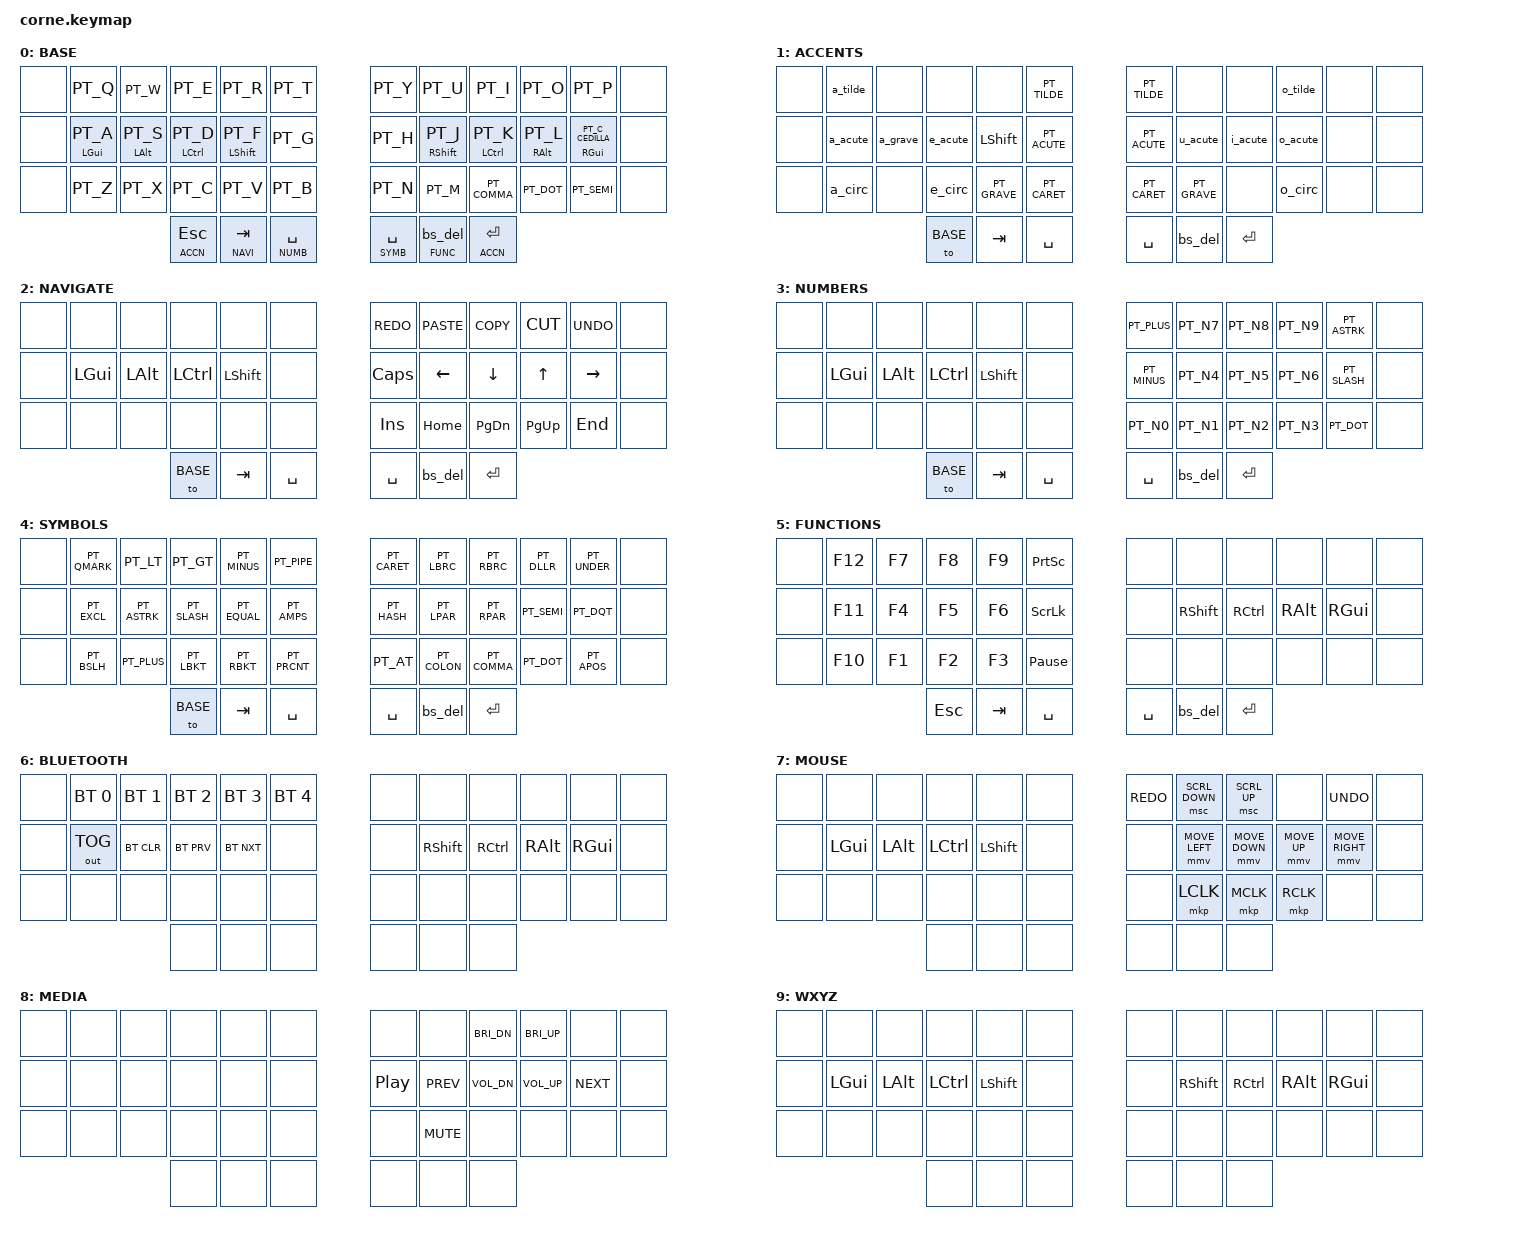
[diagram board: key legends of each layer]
/*
 * Copyright (c) 2020 The ZMK Contributors
 *
 * SPDX-License-Identifier: MIT
 */

// ZMK headers
#include <behaviors.dtsi>
#include <dt-bindings/zmk/bt.h>
#include <dt-bindings/zmk/keys.h>
#include <dt-bindings/zmk/outputs.h>
#include <dt-bindings/zmk/pointing.h>
#include "keys_pt_abnt2.h"              //  ABNT2 keyboard

#define HM_TAPPING_TERM 200
#define HM_PRIOR_IDLE   150

// Layer definitions
#define BASE  0                         //  Camada base
#define ACCN  1                         //  Acentos e letras já acentuadas
#define NAVI  2                         //  Navegação
#define NUMB  3                         //  Números e símbolos de fácil acesso
#define SYMB  4                         //  Símbolos
#define FUNC  5                         //  Funções
#define BLTH  6                         //  Bluetooth e funções de conectividade sem fio
#define MOUS  7                         //  Mouse keys e funções de controle de cursor
#define MDIA  8                         //  Ativa a camada de mídia
#define WXYZ  9                         //  Camada reserva

// Behavior configuration
&mt {
  tapping-term-ms   = <HM_TAPPING_TERM>;
  flavor            = "tap-preferred";
};

&lt {
  tapping-term-ms   = <HM_TAPPING_TERM>;
  flavor            = "tap-preferred";
};

/ {
  combos {
    compatible        = "zmk,combos";

    combo_caps_word {
      bindings        = <&caps_word>;
      key-positions   = <16 19>;      //  F e J
    };

    //  Camada do mouse:
    //  Apertar ESC (36) + TAB (37) juntos abre a camada MOUS
    combo_mouse {
      timeout-ms      = <50>;         //  Janela de tempo para o aperto simultâneo
      key-positions   = <36 37>;      //  Posição física das teclas ESC e TAB
      bindings        = <&mo MOUS>;   //  Ativa temporariamente a camada Mouse
    };

    //  Camada de bluetooth:
    //  Apertar BSPC (40) + ENTER (41) juntos abre a Camada BLTH
    combo_bluetooth {
      timeout-ms      = <50>;         //  Janela de tempo para o aperto simultâneo
      key-positions   = <40 41>;      //  Posição física das teclas BSPC e DEL
      bindings        = <&mo BLTH>;   //  Ativa temporariamente a camada Bluetooth
    };

    //  Camada de mídia:
    //  Apertar TAB (37) + SPACE (38) juntos abre a Camada MDIA
    combo_media {
      timeout-ms      = <50>;         //  Janela de tempo para o aperto simultâneo
      key-positions   = <37 38>;      //  Posição física das teclas TAB e SPACE
      bindings        = <&mo MDIA>;   //  Ativa temporariamente a camada MEDIA
    };

    // Fixar camada de acentos (ACCN)
    // Apertar ESC (36) + ENTER (41) fixa ACCN
    combo_lock_accents {
      timeout-ms      = <60>;
      key-positions   = <36 41>;
      bindings        = <&to ACCN>;
    };

    // Fixar camada de navegação (NAVI)
    // Apertar TAB (37) + ENTER (41) fixa NAVI
    combo_lock_navi {
      timeout-ms      = <60>;
      key-positions   = <37 41>;
      bindings        = <&to NAVI>;
    };

    // Fixar camada de números (NUMB)
    // Apertar SPACE (38) + ENTER (41) fixa NUMB
    combo_lock_numb {
      timeout-ms      = <60>;
      key-positions   = <38 41>;
      bindings        = <&to NUMB>;
    };

    // Fixar camada de símbolos (SYMB)
    // Apertar SPACE (39) + ENTER (41) fixa SYMB
    combo_lock_symb {
      timeout-ms      = <60>;
      key-positions   = <39 41>;
      bindings        = <&to SYMB>;
    };
  };

  macros {
    accent: acute {
      compatible      = "zmk,behavior-macro-two-param";
      label           = "ACUTE";
      #binding-cells  = <2>;
      bindings        = <&macro_tap>
                      , <&macro_param_1to1 &kp MACRO_PLACEHOLDER>
                      , <&macro_tap>
                      , <&macro_param_2to1 &kp MACRO_PLACEHOLDER>;
    };
  };

  behaviors {
    // Behavior único de Home Row Mod (unificado partes esquerda e direita)
    hm: homerow_mods {
      compatible            = "zmk,behavior-hold-tap";
      #binding-cells        = <2>;
      flavor                = "balanced";
      tapping-term-ms       = <HM_TAPPING_TERM>;
      quick-tap-ms          = <175>;
      require-prior-idle-ms = <HM_PRIOR_IDLE>;
      bindings              = <&kp>, <&kp>;
      hold-trigger-on-release;
      global-quick-tap;
    };

    // Mod-morphs para acentuação
    a_tilde: a_tilde {
      compatible            = "zmk,behavior-mod-morph";
      label                 = "A_TILDE";
      #binding-cells        = <0>;
      mods                  = <(MOD_LSFT|MOD_RSFT)>;
      bindings              = <&accent PT_TILDE PT_A>
                            , <&accent PT_TILDE LS(PT_A)>;
    };

    a_acute: a_acute {
      compatible            = "zmk,behavior-mod-morph";
      label                 = "A_ACUTE";
      #binding-cells        = <0>;
      mods                  = <(MOD_LSFT|MOD_RSFT)>;
      bindings              = <&accent PT_ACUTE PT_A>
                            , <&accent PT_ACUTE LS(PT_A)>;
    };

    a_circ: a_circ {
      compatible            = "zmk,behavior-mod-morph";
      label                 = "A_CIRC";
      #binding-cells        = <0>;
      mods                  = <(MOD_LSFT|MOD_RSFT)>;
      bindings              = <&accent PT_CARET PT_A>
                            , <&accent PT_CARET LS(PT_A)>;
    };

    a_grave: a_grave {
      compatible            = "zmk,behavior-mod-morph";
      label                 = "A_GRAVE";
      #binding-cells        = <0>;
      mods                  = <(MOD_LSFT|MOD_RSFT)>;
      bindings              = <&accent PT_GRAVE PT_A>
                            , <&accent PT_GRAVE LS(PT_A)>;
    };

    e_acute: e_acute {
      compatible            = "zmk,behavior-mod-morph";
      label                 = "E_ACUTE";
      #binding-cells        = <0>;
      mods                  = <(MOD_LSFT|MOD_RSFT)>;
      bindings              = <&accent PT_ACUTE PT_E>
                            , <&accent PT_ACUTE LS(PT_E)>;
    };

    e_circ: e_circ {
      compatible            = "zmk,behavior-mod-morph";
      label                 = "E_CIRC";
      #binding-cells        = <0>;
      mods                  = <(MOD_LSFT|MOD_RSFT)>;
      bindings              = <&accent PT_CARET PT_E>
                            , <&accent PT_CARET LS(PT_E)>;
    };

    i_acute: i_acute {
      compatible            = "zmk,behavior-mod-morph";
      label                 = "I_ACUTE";
      #binding-cells        = <0>;
      mods                  = <(MOD_LSFT|MOD_RSFT)>;
      bindings              = <&accent PT_ACUTE PT_I>
                            , <&accent PT_ACUTE LS(PT_I)>;
    };

    o_tilde: o_tilde {
      compatible            = "zmk,behavior-mod-morph";
      label                 = "O_TILDE";
      #binding-cells        = <0>;
      mods                  = <(MOD_LSFT|MOD_RSFT)>;
      bindings              = <&accent PT_TILDE PT_O>
                            , <&accent PT_TILDE LS(PT_O)>;
    };

    o_acute: o_acute {
      compatible            = "zmk,behavior-mod-morph";
      label                 = "O_ACUTE";
      #binding-cells        = <0>;
      mods                  = <(MOD_LSFT|MOD_RSFT)>;
      bindings              = <&accent PT_ACUTE PT_O>
                            , <&accent PT_ACUTE LS(PT_O)>;
    };

    o_circ: o_circ {
      compatible            = "zmk,behavior-mod-morph";
      label                 = "O_CIRC";
      #binding-cells        = <0>;
      mods                  = <(MOD_LSFT|MOD_RSFT)>;
      bindings              = <&accent PT_CARET PT_O>
                            , <&accent PT_CARET LS(PT_O)>;
    };

    u_acute: u_acute {
      compatible            = "zmk,behavior-mod-morph";
      label                 = "U_ACUTE";
      #binding-cells        = <0>;
      mods                  = <(MOD_LSFT|MOD_RSFT)>;
      bindings              = <&accent PT_ACUTE PT_U>
                            , <&accent PT_ACUTE LS(PT_U)>;
    };

    // Shift + Backspace = Delete
    bs_del: backspace_delete {
      compatible            = "zmk,behavior-mod-morph";
      #binding-cells        = <0>;
      bindings              = <&kp BSPC>, <&kp DEL>;
      mods                  = <(MOD_LSFT|MOD_RSFT)>;
    };

    lt_bspc: layer_tap_backspace {
      compatible            = "zmk,behavior-hold-tap";
      #binding-cells        = <2>;
      flavor                = "balanced";
      tapping-term-ms       = <200>;
      quick-tap-ms          = <175>;
      bindings              = <&mo>, <&bs_del>;
    };
  };

  keymap {
    compatible = "zmk,keymap";

    //  ---------------------------------------------------------------
    //  BASE  - 0 - Camada base
    //  ---------------------------------------------------------------
    base_layer {
      display-name  = "BASE";
      label         = "Default";
      bindings      = <
        //  ╭───────────────┬───────────────┬───────────────┬───────────────┬───────────────╮ ╭───────────────┬───────────────┬───────────────┬───────────────┬───────────────╮
        &none &kp PT_Q        &kp PT_W        &kp PT_E        &kp PT_R        &kp PT_T          &kp PT_Y        &kp PT_U        &kp PT_I        &kp PT_O        &kp PT_P      &none
        //  ├───────────────┼───────────────┼───────────────┼───────────────┼───────────────┤ ├───────────────┼───────────────┼───────────────┼───────────────┼───────────────┤
        &none &hm LGUI PT_A   &hm LALT PT_S   &hm LCTRL PT_D  &hm LSHFT PT_F  &kp PT_G          &kp PT_H        &hm RSHFT PT_J  &hm LCTRL PT_K  &hm RALT PT_L   &hm RGUI PT_C_CEDILLA &none
        //  ├───────────────┼───────────────┼───────────────┼───────────────┼───────────────┤ ├───────────────┼───────────────┼───────────────┼───────────────┼───────────────┤
        &none &kp PT_Z        &kp PT_X        &kp PT_C        &kp PT_V        &kp PT_B          &kp PT_N        &kp PT_M        &kp PT_COMMA    &kp PT_DOT      &kp PT_SEMI   &none
        //  ╰───────────────┴───────────────┼───────────────┼───────────────┼───────────────┤ ├───────────────┼───────────────┼───────────────┼───────────────┼───────────────╯
                                              &lt ACCN ESC    &lt NAVI TAB    &lt NUMB SPACE    &lt SYMB SPACE  &lt_bspc FUNC 0 &lt ACCN RET
        //                                  ╰───────────────┴───────────────┴───────────────╯ ╰───────────────┴───────────────┴───────────────╯
      >;
    };

    //  ---------------------------------------------------------------
    //  ACCN  - 1 - Acentos e letras já acentuadas
    //  ---------------------------------------------------------------
    accents_layer {
      display-name  = "ACCENTS";
      label         = "Accents";
      bindings      = <
        //  ╭───────────────┬───────────────┬───────────────┬───────────────┬───────────────╮ ╭───────────────┬───────────────┬───────────────┬───────────────┬───────────────╮
        &none &a_tilde        &none           &none           &none           &kp PT_TILDE      &kp PT_TILDE    &none           &none           &o_tilde        &none         &none
        //  ├───────────────┼───────────────┼───────────────┼───────────────┼───────────────┤ ├───────────────┼───────────────┼───────────────┼───────────────┼───────────────┤
        &none &a_acute        &a_grave        &e_acute        &kp LSHFT       &kp PT_ACUTE      &kp PT_ACUTE    &u_acute        &i_acute        &o_acute        &none         &none
        //  ├───────────────┼───────────────┼───────────────┼───────────────┼───────────────┤ ├───────────────┼───────────────┼───────────────┼───────────────┼───────────────┤
        &none &a_circ         &none           &e_circ         &kp PT_GRAVE    &kp PT_CARET      &kp PT_CARET    &kp PT_GRAVE    &none           &o_circ         &none         &none
        //  ╰───────────────┴───────────────┼───────────────┼───────────────┼───────────────┤ ├───────────────┼───────────────┼───────────────┼───────────────┼───────────────╯
                                              &to BASE        &kp TAB         &kp SPACE         &kp SPACE       &bs_del         &kp RET
        //                                  ╰───────────────┴───────────────┴───────────────╯ ╰───────────────┴───────────────┴───────────────╯
      >;
    };

    //  ---------------------------------------------------------------
    //  NAVI  - 2 - Navegação
    //  ---------------------------------------------------------------
    navi_layer {
      display-name  = "NAVIGATE";
      label         = "Navigation";
      bindings      = <
        //  ╭───────────────┬───────────────┬───────────────┬───────────────┬───────────────╮ ╭───────────────┬───────────────┬───────────────┬───────────────┬───────────────╮
        &none &none           &none           &none           &none           &none             &kp K_REDO      &kp K_PASTE     &kp K_COPY      &kp K_CUT       &kp K_UNDO    &none
        //  ├───────────────┼───────────────┼───────────────┼───────────────┼───────────────┤ ├───────────────┼───────────────┼───────────────┼───────────────┼───────────────┤
        &none &kp LGUI        &kp LALT        &kp LCTRL       &kp LSHFT       &none             &kp CAPS        &kp LEFT        &kp DOWN        &kp UP          &kp RIGHT     &none
        //  ├───────────────┼───────────────┼───────────────┼───────────────┼───────────────┤ ├───────────────┼───────────────┼───────────────┼───────────────┼───────────────┤
        &none &none           &none           &none           &none           &none             &kp INS         &kp HOME        &kp PG_DN       &kp PG_UP       &kp END       &none
        //  ╰───────────────┴───────────────┼───────────────┼───────────────┼───────────────┤ ├───────────────┼───────────────┼───────────────┼───────────────┼───────────────╯
                                              &to BASE        &kp TAB         &kp SPACE         &kp SPACE       &bs_del         &kp RET
        //                                  ╰───────────────┴───────────────┴───────────────╯ ╰───────────────┴───────────────┴───────────────╯
      >;
    };

    //  ---------------------------------------------------------------
    //  NUMB  - 3 - Números e símbolos de fácil acesso
    //  ---------------------------------------------------------------
    numb_layer {
      display-name  = "NUMBERS";
      label         = "Numbers";
      bindings      = <
        //  ╭───────────────┬───────────────┬───────────────┬───────────────┬───────────────╮ ╭───────────────┬───────────────┬───────────────┬───────────────┬───────────────╮
        &none &none           &none           &none           &none           &none             &kp PT_PLUS     &kp PT_N7       &kp PT_N8       &kp PT_N9       &kp PT_ASTRK  &none
        //  ├───────────────┼───────────────┼───────────────┼───────────────┼───────────────┤ ├───────────────┼───────────────┼───────────────┼───────────────┼───────────────┤
        &none &kp LGUI        &kp LALT        &kp LCTRL       &kp LSHFT       &none             &kp PT_MINUS    &kp PT_N4       &kp PT_N5       &kp PT_N6       &kp PT_SLASH  &none
        //  ├───────────────┼───────────────┼───────────────┼───────────────┼───────────────┤ ├───────────────┼───────────────┼───────────────┼───────────────┼───────────────┤
        &none &none           &none           &none           &none           &none             &kp PT_N0       &kp PT_N1       &kp PT_N2       &kp PT_N3       &kp PT_DOT    &none
        //  ╰───────────────┴───────────────┼───────────────┼───────────────┼───────────────┤ ├───────────────┼───────────────┼───────────────┼──────────────—┼———————————————╯
                                              &to BASE        &kp TAB         &kp SPACE         &kp SPACE       &bs_del         &kp RET
        //                                  ╰———————————————┴———————————————┴———————————————╯ ╰———————————————┴———————————————┴———————————————╯
      >;
    };

    //  ---------------------------------------------------------------
    //  SYMB  - 4 - Símbolos
    //  ---------------------------------------------------------------
    symb_layer {
      display-name  = "SYMBOLS";
      label         = "Symbols";
      bindings      = <
        //  ╭───────────────┬───────────────┬───────────────┬───────────────┬───────────────╮ ╭───────────────┬───────────────┬───────────────┬───────────────┬───────────────╮
        &none &kp PT_QMARK    &kp PT_LT       &kp PT_GT       &kp PT_MINUS    &kp PT_PIPE       &kp PT_CARET    &kp PT_LBRC     &kp PT_RBRC     &kp PT_DLLR     &kp PT_UNDER  &none
        //  ├───────────────┼───────────────┼───────────────┼───────────────┼───────────────┤ ├───────────────┼───────────────┼───────────────┼───────────────┼───────────────┤
        &none &kp PT_EXCL     &kp PT_ASTRK    &kp PT_SLASH    &kp PT_EQUAL    &kp PT_AMPS       &kp PT_HASH     &kp PT_LPAR     &kp PT_RPAR     &kp PT_SEMI     &kp PT_DQT    &none
        //  ├───────────────┼───────────────┼───────────────┼───────────────┼───────────────┤ ├───────────────┼───────────────┼───────────────┼───────────────┼───────────────┤
        &none &kp PT_BSLH     &kp PT_PLUS     &kp PT_LBKT     &kp PT_RBKT     &kp PT_PRCNT      &kp PT_AT       &kp PT_COLON    &kp PT_COMMA    &kp PT_DOT      &kp PT_APOS   &none
        //  ╰───────────────┴───────────────┼───────────────┼───────────────┼───────────────┤ ├───────────────┼───────────────┼───────────────┼───────────────┼───────────────╯
                                              &to BASE        &kp TAB         &kp SPACE         &kp SPACE       &bs_del         &kp RET
        //                                  ╰───────────────┴───────────────┴───────────────╯ ╰───────────────┴───────────────┴───────────────╯
      >;
    };

    //  ---------------------------------------------------------------
    //  FUNC  - 5 - Funções
    //  ---------------------------------------------------------------
    func_layer {
      display-name  = "FUNCTIONS";
      label         = "Functions";
      bindings      = <
        //  ╭───────────────┬───────────────┬───────────────┬───────────────┬───────────────╮ ╭───────────────┬───────────────┬───────────────┬───────────────┬───────────────╮
        &none &kp F12         &kp F7          &kp F8          &kp F9          &kp PSCRN         &none           &none           &none           &none           &none         &none
        //  ├───────────────┼───────────────┼───────────────┼───────────────┼───────────────┤ ├───────────────┼───────────────┼───────────────┼───────────────┼───────────────┤
        &none &kp F11         &kp F4          &kp F5          &kp F6          &kp SLCK          &none           &kp RSHFT       &kp RCTRL       &kp RALT        &kp RGUI      &none
        //  ├───────────────┼───────────────┼───────────────┼───────────────┼───────────────┤ ├───────────────┼───────────────┼───────────────┼───────────────┼───────────────┤
        &none &kp F10         &kp F1          &kp F2          &kp F3          &kp PAUSE_BREAK   &none           &none           &none           &none           &none         &none
        //  ╰───────────────┴───────────────┼───────────────┼───────────────┼───────────────┤ ├───────────────┼───────────────┼───────────────┼───────────────┼───────────────╯
                                              &kp ESC         &kp TAB         &kp SPACE         &kp SPACE       &bs_del         &kp RET
        //                                  ╰───────────────┴───────────────┴───────────────╯ ╰───────────────┴───────────────┴───────────────╯
      >;
    };

    //  ---------------------------------------------------------------
    //  BLTH  - 6 - Bluetooth e funções de conectividade sem fio
    //  ---------------------------------------------------------------
    blth_layer {
      display-name  = "BLUETOOTH";
      label         = "Bluetooth";
      bindings      = <
        //  ╭───────────────┬───────────────┬───────────────┬───────────────┬───────────────╮ ╭───────────────┬───────────────┬───────────────┬───────────────┬───────────────╮
        &none &bt BT_SEL 0    &bt BT_SEL 1    &bt BT_SEL 2    &bt BT_SEL 3    &bt BT_SEL 4      &none           &none           &none           &none           &none         &none
        //  ├───────────────┼───────────────┼───────────────┼───────────────┼───────────────┤ ├───────────────┼───────────────┼───────────────┼───────────────┼───────────────┤
        &none &out OUT_TOG    &bt BT_CLR      &bt BT_PRV      &bt BT_NXT      &none             &none           &kp RSHFT       &kp RCTRL       &kp RALT        &kp RGUI      &none
        //  ├───────────────┼───────────────┼───────────────┼───────────────┼───────────────┤ ├───────────────┼───────────────┼───────────────┼───────────────┼───────────────┤
        &none &none           &none           &none           &none           &none             &none           &none           &none           &none           &none         &none
        //  ╰───────────────┴───────────────┼───────────────┼───────────────┼───────────────┤ ├───────────────┼───────────────┼───────────────┼───────────────┼───────────────╯
                                              &none           &none           &none             &none           &none           &none
        //                                  ╰───────────────┴───────────────┴───────────────╯ ╰───────────────┴───────────────┴───────────────╯
      >;
    };

    //  ---------------------------------------------------------------
    //  MOUS  - 7 - Mouse keys e funções de controle de cursor
    //  ---------------------------------------------------------------
    mous_layer {
      display-name  = "MOUSE";
      label         = "Mouse";
      bindings      = <
        //  ╭───────────────┬───────────────┬───────────────┬───────────────┬───────────────╮ ╭───────────────┬───────────────┬───────────────┬───────────────┬───────────────╮
        &none &none           &none           &none           &none           &none             &kp K_REDO      &msc SCRL_DOWN  &msc SCRL_UP    &none           &kp K_UNDO    &none
        //  ├───────────────┼───────────────┼───────────────┼───────────────┼───────────────┤ ├───────────────┼───────────────┼───────────────┼───────────────┼───────────────┤
        &none &kp LGUI        &kp LALT        &kp LCTRL       &kp LSHFT       &none             &none           &mmv MOVE_LEFT  &mmv MOVE_DOWN  &mmv MOVE_UP    &mmv MOVE_RIGHT &none
        //  ├───────────────┼───────────────┼───────────────┼───────────────┼───────────────┤ ├───────────────┼───────────────┼───────────────┼───────────────┼───────────────┤
        &none &none           &none           &none           &none           &none             &none           &mkp LCLK       &mkp MCLK       &mkp RCLK       &none         &none
        //  ╰───────────────┴───────────────┼───────────────┼───────────────┼───────────────┤ ├───────────────┼───────────────┼───────────────┼───────────────┼───────────────╯
                                              &none           &none           &none             &none           &none           &none
        //                                  ╰───────────────┴───────────────┴───────────────╯ ╰───────────────┴───────────────┴───────────────╯
      >;
    };

    //  ---------------------------------------------------------------
    //  MDIA  - 8 - Camada de mídia
    //  ---------------------------------------------------------------
    media_layer {
      display-name  = "MEDIA";
      label         = "Media";
      bindings      = <
        //  ╭───────────────┬───────────────┬───────────────┬───────────────┬───────────────╮ ╭───────────────┬───────────────┬───────────────┬───────────────┬───────────────╮
        &none &none           &none           &none           &none           &none             &none           &none           &kp C_BRI_DN    &kp C_BRI_UP    &none         &none
        //  ├───────────────┼───────────────┼───────────────┼───────────────┼───────────────┤ ├───────────────┼───────────────┼───────────────┼───────────────┼───────────────┤
        &none &none           &none           &none           &none           &none             &kp C_PLAY_PAUSE  &kp C_PREV    &kp C_VOL_DN    &kp C_VOL_UP    &kp C_NEXT    &none
        //  ├───────────────┼───────────────┼───────────────┼───────────────┼───────────────┤ ├───────────────┼───────────────┼───────────────┼───────────────┼───────────────┤
        &none &none           &none           &none           &none           &none             &none           &kp C_MUTE	    &none           &none           &none         &none
        //  ╰───────────────┴───────────────┼───────────────┼───────────────┼───────────────┤ ├───────────────┼───────────────┼───────────────┼───────────────┼───────────────╯
                                              &none           &none           &none             &none           &none           &none
        //                                  ╰───────────────┴───────────────┴───────────────╯ ╰───────────────┴───────────────┴───────────────╯
      >;
    };

    //  ---------------------------------------------------------------
    //  WXYZ  - 8 - Camada reserva
    //  ---------------------------------------------------------------
    wxyz_layer {
      display-name  = "WXYZ";
      label         = "Reservado";
      bindings      = <
        //  ╭───────────────┬───────────────┬───────────────┬───────────────┬───────────────╮ ╭───────────────┬───────────────┬───────────────┬───────────────┬───────────────╮
        &none &none           &none           &none           &none           &none             &none           &none           &none           &none           &none         &none
        //  ├───────────────┼───────────────┼───────────────┼───────────────┼───────────────┤ ├───────────────┼───────────────┼───────────────┼───────────────┼───────────────┤
        &none &kp LGUI        &kp LALT        &kp LCTRL       &kp LSHFT       &none             &none           &kp RSHFT       &kp RCTRL       &kp RALT        &kp RGUI      &none
        //  ├───────────────┼───────────────┼───────────────┼───────────────┼───────────────┤ ├───────────────┼───────────────┼───────────────┼───────────────┼───────────────┤
        &none &none           &none           &none           &none           &none             &none           &none           &none           &none           &none         &none
        //  ╰───────────────┴───────────────┼───────────────┼───────────────┼───────────────┤ ├───────────────┼───────────────┼───────────────┼───────────────┼───────────────╯
                                              &none           &none           &none             &none           &none           &none
        //                                  ╰───────────────┴───────────────┴───────────────╯ ╰───────────────┴───────────────┴───────────────╯
      >;
    };
  };
};
